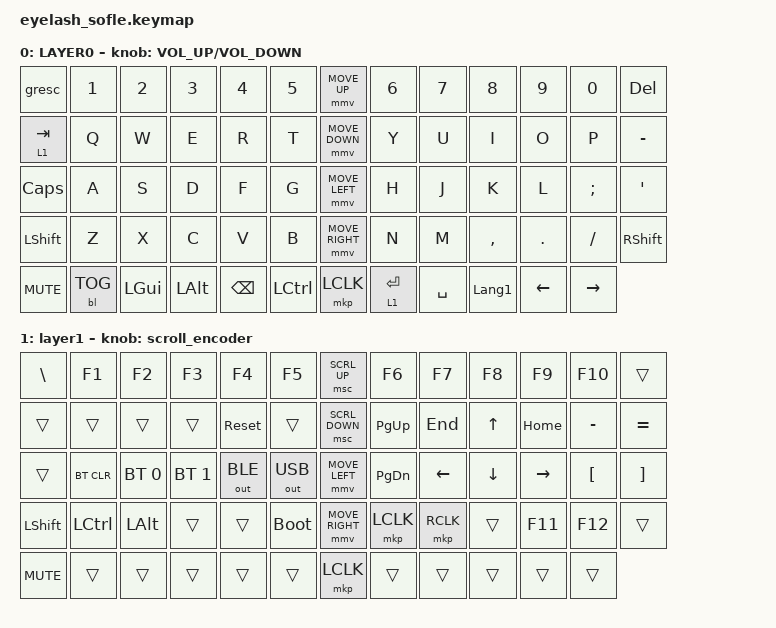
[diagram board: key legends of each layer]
#define ZMK_POINTING_DEFAULT_MOVE_VAL 1200  // 600
#define ZMK_POINTING_DEFAULT_SCRL_VAL 25   // 10

#include <input/processors.dtsi>
#include <zephyr/dt-bindings/input/input-event-codes.h>
#include <behaviors.dtsi>
#include <dt-bindings/zmk/backlight.h>
#include <dt-bindings/zmk/bt.h>
#include <dt-bindings/zmk/keys.h>
#include <dt-bindings/zmk/outputs.h>
#include <dt-bindings/zmk/pointing.h>

&mmv_input_listener { input-processors = <&zip_xy_scaler 2 1>; };

&msc_input_listener { input-processors = <&zip_scroll_scaler 2 1>; };

&msc {
    acceleration-exponent = <1>;      // 0
    time-to-max-speed-ms = <100>;       // 300
    delay-ms = <0>;                   // 0
};

&mmv {
    time-to-max-speed-ms = <500>;
    acceleration-exponent = <1>;
    trigger-period-ms = <16>;
};

&soft_off { hold-time-ms = <2000>; };

/ {
    scroll_encoder: scroll_encoder {
        compatible = "zmk,behavior-sensor-rotate";
        #sensor-binding-cells = <0>;
        bindings = <&msc SCRL_DOWN>, <&msc SCRL_UP>;

        tap-ms = <100>;
    };

    behaviors {
    };

    combos {
        compatible = "zmk,combos";

        softoff {
            bindings = <&soft_off>;
            key-positions = <14 15 16 17 57>;
        };
    };

    keymap {
        compatible = "zmk,keymap";

        layer0 {
            bindings = <
&gresc      &kp N1      &kp N2        &kp N3        &kp N4         &kp N5              &mmv MOVE_UP     &kp N6       &kp N7     &kp N8          &kp N9          &kp N0           &kp DELETE
&lt 1 TAB   &kp Q       &kp W         &kp E         &kp R          &kp T               &mmv MOVE_DOWN   &kp Y        &kp U      &kp I           &kp O           &kp P            &kp MINUS
&kp CAPS    &kp A       &kp S         &kp D         &kp F          &kp G               &mmv MOVE_LEFT   &kp H        &kp J      &kp K           &kp L           &kp SEMI         &kp APOS
&kp LSHFT   &kp Z       &kp X         &kp C         &kp V          &kp B               &mmv MOVE_RIGHT  &kp N        &kp M      &kp COMMA       &kp DOT         &kp FSLH         &kp RSHIFT
&kp C_MUTE  &bl BL_TOG  &kp LEFT_GUI  &kp LEFT_ALT  &kp BACKSPACE  &kp LEFT_CONTROL    &mkp LCLK        &lt 1 ENTER  &kp SPACE  &kp LANGUAGE_1  &kp LEFT_ARROW  &kp RIGHT_ARROW
            >;

            sensor-bindings = <&inc_dec_kp C_VOLUME_UP C_VOLUME_DOWN>;
            display-name = "LAYER0";
        };

        layer_1 {
            bindings = <
&kp BACKSLASH  &kp F1            &kp F2        &kp F3        &kp F4        &kp F5          &msc SCRL_UP     &kp F6     &kp F7     &kp F8    &kp F9     &kp F10           &trans
&trans         &trans            &trans        &trans        &sys_reset    &trans          &msc SCRL_DOWN   &kp PG_UP  &kp END    &kp UP    &kp HOME   &kp MINUS         &kp EQUAL
&trans         &bt BT_CLR        &bt BT_SEL 0  &bt BT_SEL 1  &out OUT_BLE  &out OUT_USB    &mmv MOVE_LEFT   &kp PG_DN  &kp LEFT   &kp DOWN  &kp RIGHT  &kp LEFT_BRACKET  &kp RIGHT_BRACKET
&kp LSHFT      &kp LEFT_CONTROL  &kp LEFT_ALT  &trans        &trans        &bootloader     &mmv MOVE_RIGHT  &mkp LCLK  &mkp RCLK  &trans    &kp F11    &kp F12           &trans
&kp C_MUTE     &trans            &trans        &trans        &trans        &trans          &mkp LCLK        &trans     &trans     &trans    &trans     &trans
            >;

            display-name = "layer1";
            sensor-bindings = <&scroll_encoder>;
        };
    };
};
